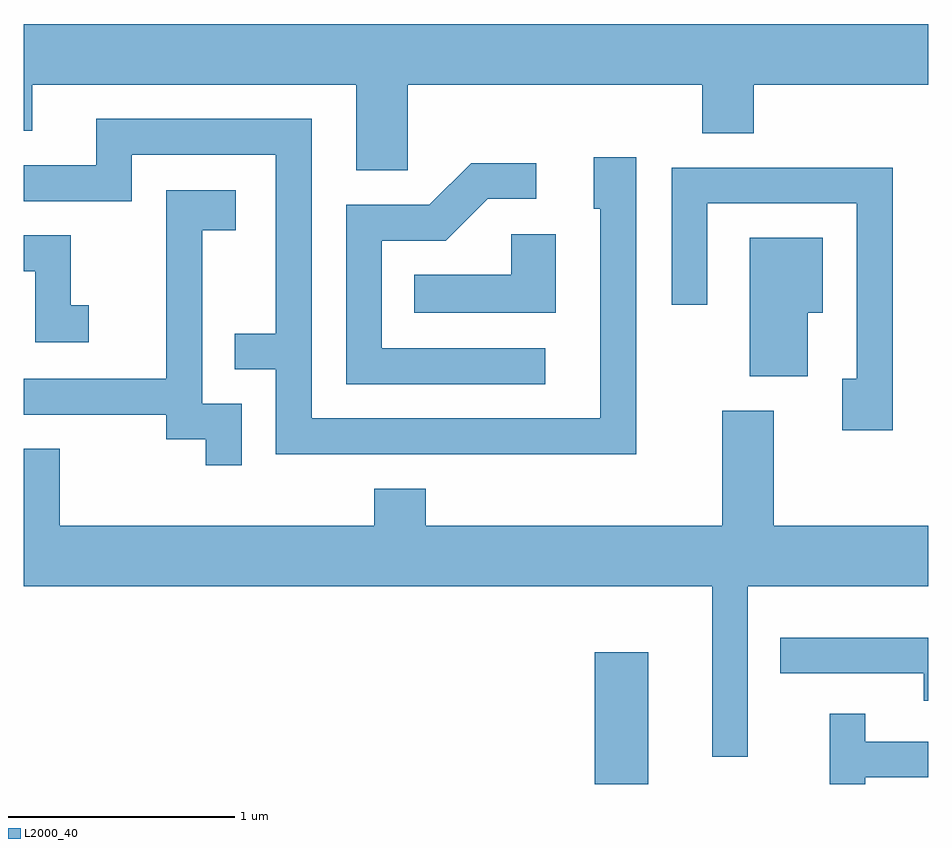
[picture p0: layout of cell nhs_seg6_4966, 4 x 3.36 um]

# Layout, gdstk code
import gdstk
lib = gdstk.Library(unit=1e-6, precision=1e-09)
def R(c, l, rs):  # rectangles x0, y0, x1, y1
    for r in rs: c.add(gdstk.rectangle(r[:2], r[2:], *l))
def P(c, l, *ps):  # polygons
    for p in ps: c.add(gdstk.Polygon(p, *l))
L2000_40 = (2000, 40)

nhs_seg6_4966 = lib.new_cell('nhs_seg6_4966')
R(nhs_seg6_4966, L2000_40, [(338.136,1660.162,338.374,1660.744)])
P(nhs_seg6_4966, L2000_40, [(337.309,1663.256),(338.611,1663.256),(338.611,1663.041),(338.839,1663.041),(338.839,1663.256),(339.611,1663.256),(339.611,1663.524),(335.611,1663.524),(335.611,1663.051),(335.649,1663.051),(335.649,1663.256),(337.081,1663.256),(337.081,1662.876),(337.309,1662.876)],
  [(338.319,1662.934),(338.131,1662.934),(338.131,1662.706),(338.161,1662.706),(338.161,1661.779),(336.884,1661.779),(336.884,1663.104),(335.931,1663.104),(335.931,1662.899),(335.611,1662.899),(335.611,1662.741),(336.089,1662.741),(336.089,1662.946),(336.726,1662.946),(336.726,1662.154),(336.543,1662.154),(336.543,1661.996),(336.726,1661.996),(336.726,1661.621),(338.319,1661.621)],
  [(337.918,1662.089),(337.194,1662.089),(337.194,1662.566),(337.477,1662.566),(337.662,1662.751),(337.878,1662.751),(337.878,1662.909),(337.589,1662.909),(337.404,1662.724),(337.036,1662.724),(337.036,1661.931),(337.918,1661.931)],
  [(339.454,1662.889),(338.476,1662.889),(338.476,1662.283),(338.634,1662.283),(338.634,1662.731),(339.296,1662.731),(339.296,1661.954),(339.231,1661.954),(339.231,1661.726),(339.454,1661.726)],
  [(336.574,1661.844),(336.399,1661.844),(336.399,1662.611),(336.549,1662.611),(336.549,1662.789),(336.241,1662.789),(336.241,1661.954),(335.611,1661.954),(335.611,1661.796),(336.241,1661.796),(336.241,1661.686),(336.416,1661.686),(336.416,1661.573),(336.574,1661.573)],
  [(337.964,1662.594),(337.766,1662.594),(337.766,1662.414),(337.338,1662.414),(337.338,1662.246),(337.964,1662.246)],
  [(335.898,1662.279),(335.819,1662.279),(335.819,1662.589),(335.611,1662.589),(335.611,1662.431),(335.661,1662.431),(335.661,1662.116),(335.898,1662.116)],
  [(339.079,1662.246),(339.144,1662.246),(339.144,1662.579),(338.821,1662.579),(338.821,1661.966),(339.079,1661.966)],
  [(338.814,1661.036),(339.611,1661.036),(339.611,1661.304),(338.929,1661.304),(338.929,1661.814),(338.701,1661.814),(338.701,1661.304),(337.389,1661.304),(337.389,1661.469),(337.161,1661.469),(337.161,1661.304),(335.769,1661.304),(335.769,1661.644),(335.611,1661.644),(335.611,1661.036),(338.656,1661.036),(338.656,1660.283),(338.814,1660.283)],
  [(339.611,1660.809),(338.958,1660.809),(338.958,1660.651),(339.591,1660.651),(339.591,1660.531),(339.611,1660.531)],
  [(339.334,1660.191),(339.611,1660.191),(339.611,1660.349),(339.334,1660.349),(339.334,1660.473),(339.176,1660.473),(339.176,1660.162),(339.334,1660.162)])

lib.write_gds('nhs_seg6_4966.gds')
